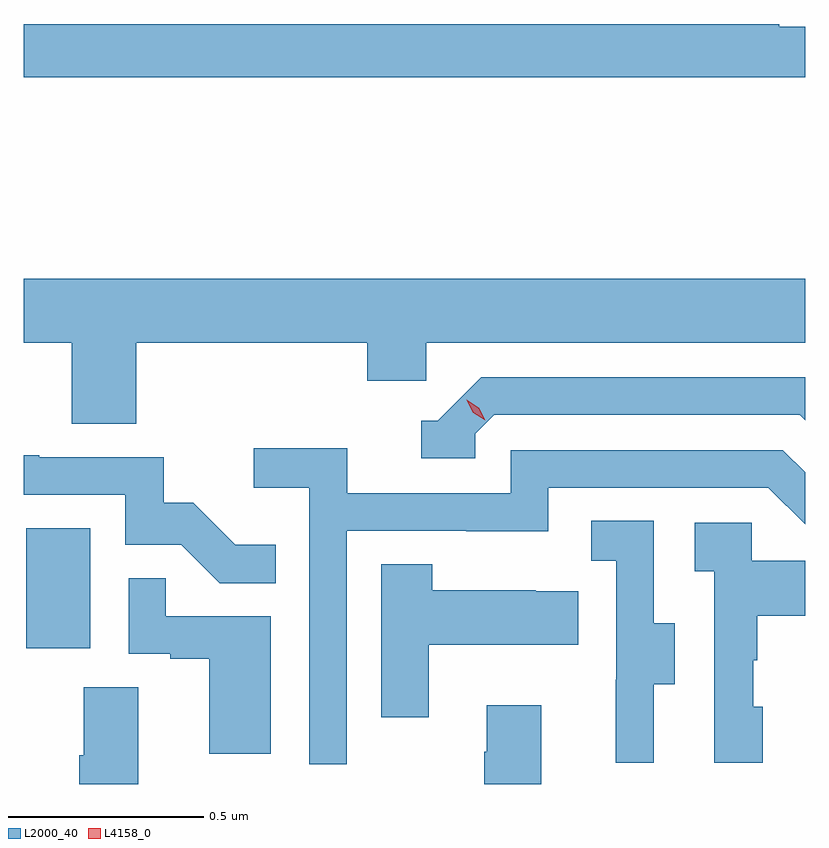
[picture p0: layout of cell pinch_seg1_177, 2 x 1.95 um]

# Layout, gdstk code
import gdstk
lib = gdstk.Library(unit=1e-6, precision=1e-09)
def R(c, l, rs):  # rectangles x0, y0, x1, y1
    for r in rs: c.add(gdstk.rectangle(r[:2], r[2:], *l))
def P(c, l, *ps):  # polygons
    for p in ps: c.add(gdstk.Polygon(p, *l))
L2000_40 = (2000, 40)
L4158_0 = (4158, 0)

pinch_seg1_177 = lib.new_cell('pinch_seg1_177')
R(pinch_seg1_177, L2000_40, [(1097.942,561.606,1098.106,561.913)])
P(pinch_seg1_177, L2000_40, [(1099.936,563.197),(1099.87,563.197),(1099.87,563.204),(1097.936,563.204),(1097.936,563.068),(1099.936,563.068)],
  [(1098.224,562.388),(1098.815,562.388),(1098.815,562.29),(1098.966,562.29),(1098.966,562.388),(1099.936,562.388),(1099.936,562.552),(1097.936,562.552),(1097.936,562.388),(1098.059,562.388),(1098.059,562.18),(1098.224,562.18)],
  [(1099.092,562.155),(1099.14,562.203),(1099.923,562.203),(1099.936,562.19),(1099.936,562.299),(1099.107,562.299),(1098.996,562.188),(1098.953,562.188),(1098.953,562.092),(1099.092,562.092)],
  [(1098.762,561.906),(1099.069,561.906),(1099.069,561.905),(1099.278,561.905),(1099.278,562.017),(1099.842,562.017),(1099.936,561.923),(1099.936,562.056),(1099.879,562.113),(1099.182,562.113),(1099.182,562.002),(1098.764,562.002),(1098.764,562.118),(1098.525,562.118),(1098.525,562.016),(1098.666,562.016),(1098.666,561.309),(1098.762,561.309)],
  [(1098.581,561.871),(1098.477,561.871),(1098.37,561.978),(1098.294,561.978),(1098.294,562.095),(1097.975,562.095),(1097.975,562.1),(1097.936,562.1),(1097.936,561.999),(1098.195,561.999),(1098.195,561.87),(1098.339,561.87),(1098.437,561.772),(1098.581,561.772)],
  [(1099.549,561.514),(1099.603,561.514),(1099.603,561.669),(1099.548,561.669),(1099.548,561.932),(1099.389,561.932),(1099.389,561.829),(1099.452,561.829),(1099.452,561.525),(1099.451,561.525),(1099.451,561.312),(1099.549,561.312)],
  [(1099.828,561.456),(1099.803,561.456),(1099.803,561.575),(1099.813,561.575),(1099.813,561.689),(1099.936,561.689),(1099.936,561.829),(1099.8,561.829),(1099.8,561.927),(1099.653,561.927),(1099.653,561.803),(1099.704,561.803),(1099.704,561.312),(1099.828,561.312)],
  [(1098.973,561.614),(1099.355,561.614),(1099.355,561.751),(1099.247,561.751),(1099.247,561.754),(1098.981,561.754),(1098.981,561.821),(1098.851,561.821),(1098.851,561.429),(1098.973,561.429)],
  [(1098.568,561.687),(1098.299,561.687),(1098.299,561.785),(1098.204,561.785),(1098.204,561.591),(1098.311,561.591),(1098.311,561.579),(1098.41,561.579),(1098.41,561.336),(1098.568,561.336)],
  [(1098.229,561.506),(1098.089,561.506),(1098.089,561.332),(1098.077,561.332),(1098.077,561.258),(1098.229,561.258)],
  [(1099.261,561.46),(1099.121,561.46),(1099.121,561.341),(1099.114,561.341),(1099.114,561.258),(1099.261,561.258)])
P(pinch_seg1_177, L4158_0, [(1099.117,562.19),(1099.086,562.209),(1099.07,562.241),(1099.07,562.242),(1099.07,562.242),(1099.101,562.222),(1099.117,562.19),(1099.117,562.19)])

lib.write_gds('pinch_seg1_177.gds')
